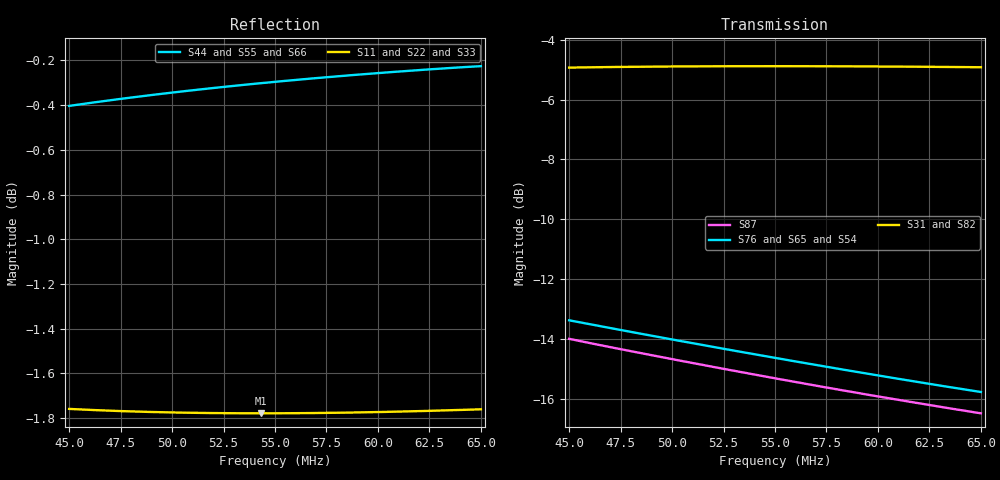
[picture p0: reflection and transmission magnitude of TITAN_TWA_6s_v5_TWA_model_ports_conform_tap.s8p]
! Touchstone file exported from HFSS 2019.2.0
!  File:  /home/riccardo/Documents/TWA_TITAN/TITAN_TWA_6s_v5.aedt
!  Generated:  10:03:12 AM  Dec 11, 2019
!  Design:  TWA_model_ports_conform_tap
!  Project:  TITAN_TWA_6s_v5
!  Setup:  Setup1
!  Solution:  Sweep
! Variables:
!  b_dl = 150mm
!  b_h = 250mm
!  b_l = 1950mm
!  b_lbg = 1000mm
!  b_rd = 225mm
!  b_wt = 10mm
!  c_g = 10mm
!  c_l = 230mm
!  c_t = 15mm
!  c_w = 200mm
!  c_wt = 10mm
!  cap_1_l = 215mm
!  cap_2_l = 160mm
!  cap_3_l = 115mm
!  cap_4_l = 115mm
!  cap_5_l = 160mm
!  cap_6_l = 215mm
!  cap_off = 10mm
!  cwp_d = 100mm
!  cx_1_bnd_r = 100mm
!  cx_1_d1 = 260mm
!  cx_l = 35mm
!  cx_ri = 38.495117903mm
!  cx_ro = 63.5mm
!  dmb_d = 100mm
!  s_b = 150mm
!  s_fillet = 7.5mm
!  s_fillet_sf = 12mm
!  s_foot_fillet = 7.5mm
!  s_foot_h = 25mm
!  s_foot_l = 72.5mm
!  s_l = 250mm
!  s_lwg = 250mm
!  s_r = 60mm
!  s_rcr = 10mm
!  s_t = 15mm
!  s_w = 200mm
!  s_z = 250mm
!  shift_x = -360mm
!  shift_y = -0mm
!  shift_z = -140mm
!  t_fillet = 7.5mm
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# GHZ S MA
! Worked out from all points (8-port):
!   201 points, 45 MHz to 65 MHz, reference per port
!   strongest paths, dB at 45 MHz, 50 MHz, 55 MHz, 60 MHz, 65 MHz:
!     S31: -4.9, -4.9, -4.9, -4.9, -4.9
!     S82: -5.0, -5.0, -4.9, -4.9, -5.0
!     S76: -13.4, -14.0, -14.6, -15.2, -15.8
!     S65: -13.4, -14.0, -14.6, -15.2, -15.8
!     S54: -13.4, -14.0, -14.7, -15.2, -15.8
!     S87: -14.0, -14.7, -15.3, -15.9, -16.5
!   lowest |S11| = -1.8 dB at 54.3 MHz (marker M1), VSWR 9.80
!   |S11| at or under -10 dB: nowhere
